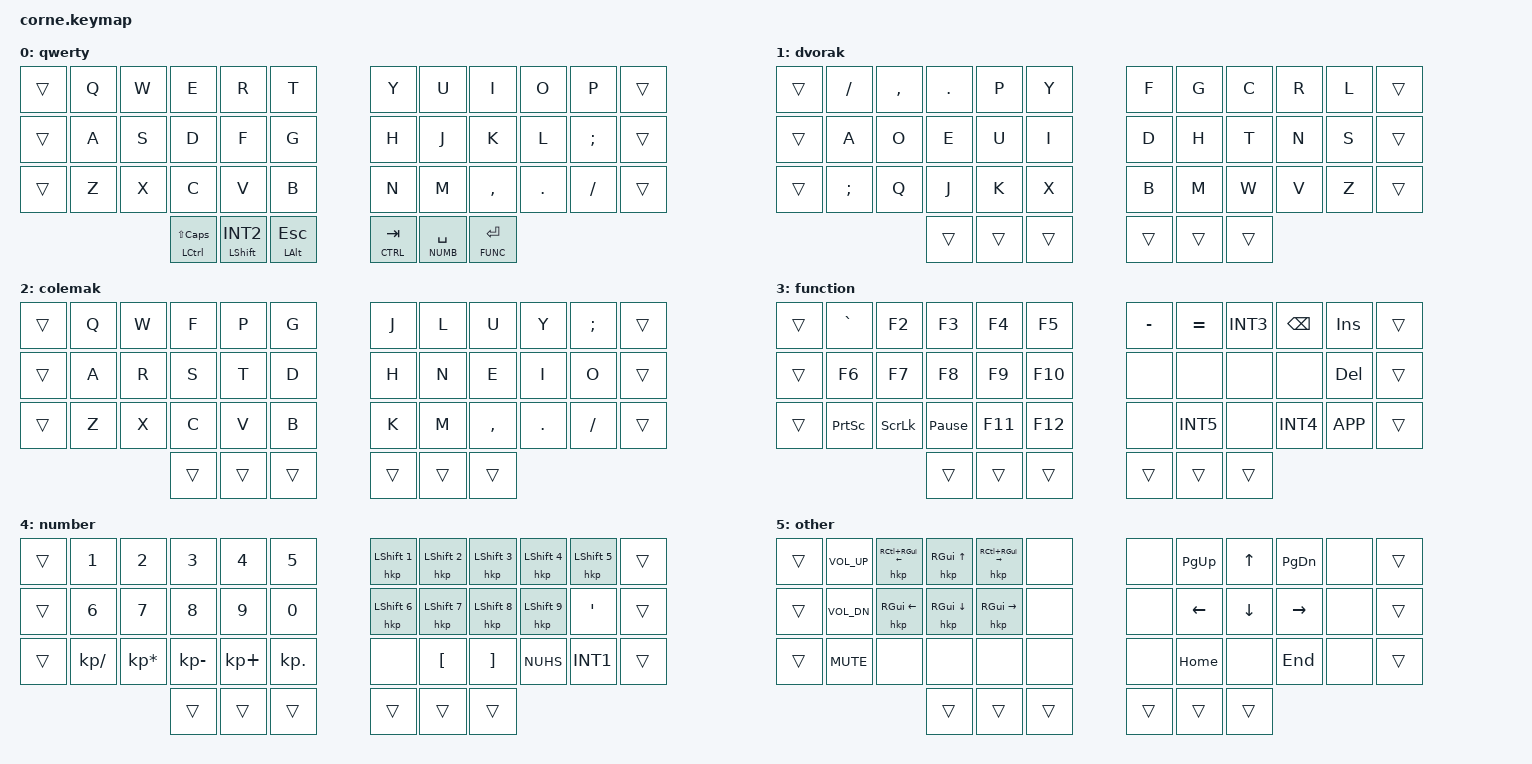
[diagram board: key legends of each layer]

#include <behaviors.dtsi>
#include <dt-bindings/zmk/bt.h>
#include <dt-bindings/zmk/keys.h>
#include <dt-bindings/zmk/outputs.h>
#include <dt-bindings/zmk/pointing.h>

#define QWERTY	0
#define DVORAK	1
#define COLEMAK	2
// #define EUCALYN	3
#define FUNC	3
#define NUMB	4
#define CTRL	5

#define COMBO(NAME, TM, POS, BIND) NAME {\
	slow-release; timeout-ms = <TM>;\
	key-positions = POS; bindings = BIND;\
}

#define MACRO(NAME, ...) NAME: NAME {\
	compatible = "zmk,behavior-macro";\
	#binding-cells = <0>; bindings = __VA_ARGS__;\
}

#define MACRO_ONE_PARAM(NAME, ...) NAME: NAME {\
	compatible = "zmk,behavior-macro-one-param";\
	#binding-cells = <1>; bindings = __VA_ARGS__;\
}

#define MACRO_TWO_PARAM(NAME, ...) NAME: NAME {\
	compatible = "zmk,behavior-macro-two-param";\
	#binding-cells = <2>; bindings = __VA_ARGS__;\
}

#define TAP_DANCE(NAME, TERM, ...) NAME: NAME {\
	compatible = "zmk,behavior-tap-dance";\
	#binding-cells = <0>; tapping-term-ms = <TERM>; bindings = __VA_ARGS__;\
}

&lt { flavor = "hold-preferred"; };
&mt { flavor = "hold-preferred"; quick-tap-ms = <300>; };

/ {
	behaviors {
		
		MACRO(mkp_2mb1, <&macro_tap &mkp MB1 &mkp MB1>);
		MACRO(mkp_3mb1, <&macro_tap &mkp MB1 &mkp MB1 &mkp MB1>);
		
		MACRO(half, <&macro_tap &kp INT2 &kp GRAVE>);
		MACRO(home, <&macro_tap &kp A &kp S &kp D &kp F &kp SEMI &kp L &kp K &kp J>);

		MACRO_ONE_PARAM(bt_clr
			, <&macro_param_1to2>
			, <&macro_tap &bt BT_SEL MACRO_PLACEHOLDER>
			, <&macro_tap &bt BT_CLR>
		);

		MACRO_TWO_PARAM(hkp
			, <&macro_param_1to1>, <&macro_press &kp MACRO_PLACEHOLDER>
			, <&macro_param_2to1>, <&macro_press &kp MACRO_PLACEHOLDER>
			, <&macro_pause_for_release>
			, <&macro_param_2to1>, <&macro_release &kp MACRO_PLACEHOLDER>
			, <&macro_param_1to1>, <&macro_release &kp MACRO_PLACEHOLDER>
		);

		// TAP_DANCE(td_grave, 300, <&half>, <&kp INT2>);
		// TAP_DANCE(td_tab, 300, <&kp TAB>, <&hkp LSHFT TAB>);
		// TAP_DANCE(td_bt0, 300, <&bt BT_SEL 0>, <&bt_clr 0>);
		// TAP_DANCE(td_bt1, 300, <&bt BT_SEL 1>, <&bt_clr 1>);
		// TAP_DANCE(td_bt2, 300, <&bt BT_SEL 2>, <&bt_clr 2>);
		// TAP_DANCE(td_bt3, 300, <&bt BT_SEL 3>, <&bt_clr 3>);
		// TAP_DANCE(td_bt4, 300, <&bt BT_SEL 4>, <&bt_clr 4>);
		// TAP_DANCE(td_base, 1000, <&to QWERTY>, <&to DVORAK>, <&to COLEMAK>);
		// TAP_DANCE(td_base, 1000, <&to QWERTY>, <&to DVORAK>, <&to COLEMAK>, <&to EUCALYN>);
	};
	
	keymap {
		
		compatible = "zmk,keymap";
		qwerty {
			bindings = <
				&trans	&kp Q	&kp W			&kp E			&kp R			&kp T			&kp Y			&kp U	&kp I		&kp O		&kp P		&trans
				&trans	&kp A	&kp S			&kp D			&kp F			&kp G			&kp H			&kp J	&kp K		&kp L		&kp SEMI	&trans
				&trans	&kp Z	&kp X			&kp C			&kp V			&kp B			&kp N			&kp M	&kp COMMA	&kp DOT		&kp SLASH	&trans
										&mt LCTRL LS(CAPSLOCK)	&mt LSHFT INT2	&mt LALT ESC	&lt CTRL TAB	&lt NUMB SPACE	&lt FUNC ENTER
			>;
		};
		dvorak {
			bindings = <
				&trans	&kp SLASH	&kp COMMA	&kp DOT		&kp P	&kp Y	&kp F	&kp G	&kp C	&kp R	&kp L	&trans
				&trans	&kp A		&kp O		&kp E		&kp U	&kp I	&kp D	&kp H	&kp T	&kp N	&kp S	&trans
				&trans	&kp SEMI	&kp Q		&kp J		&kp K	&kp X	&kp B	&kp M	&kp W	&kp V	&kp Z	&trans
												&trans		&trans	&trans	&trans	&trans	&trans
			>;
		};
		colemak {
			bindings = <
				&trans	&kp Q	&kp W	&kp F	&kp P	&kp G	&kp J	&kp L	&kp U		&kp Y	&kp SEMI	&trans
				&trans	&kp A	&kp R	&kp S	&kp T	&kp D	&kp H	&kp N	&kp E		&kp I	&kp O		&trans
				&trans	&kp Z	&kp X	&kp C	&kp V	&kp B	&kp K	&kp M	&kp COMMA	&kp DOT	&kp SLASH	&trans
										&trans	&trans	&trans	&trans	&trans	&trans
			>;
		};
		// eucalyn {
		// 	bindings = <
		// 		&trans	&kp Q	&kp W	&kp COMMA	&kp DOT		&kp SEMI	&kp M	&kp R	&kp D	&kp Y	&kp P		&trans
		// 		&trans	&kp A	&kp O	&kp E		&kp I		&kp U		&kp G	&kp T	&kp K	&kp S	&kp N		&trans
		// 		&trans	&kp Z	&kp X	&kp C		&kp V		&kp F		&kp B	&kp H	&kp J	&kp L	&kp SLASH	&trans
		// 						&trans	&trans		&trans		&trans		&trans	&trans
		// 	>;
		// };
		function {
			bindings = <
				&trans	&kp GRAVE	&kp F2		&kp F3				&kp F4		&kp F5		&kp MINUS	&kp EQUAL	&kp INT3	&kp BSPC	&kp INS		&trans
				&trans	&kp F6		&kp F7		&kp F8				&kp F9		&kp F10		&none		&none		&none		&none		&kp DEL		&trans
				&trans	&kp PSCRN	&kp SLCK	&kp PAUSE_BREAK		&kp F11		&kp F12		&none		&kp INT5	&none		&kp INT4	&kp K_APP	&trans
									&trans		&trans			&trans		&trans		&trans		&trans
			>;
		};
		number {
			bindings = <
				&trans	&kp N1			&kp N2				&kp N3			&kp N4			&kp N5			&hkp LSHFT N1	&hkp LSHFT N2	&hkp LSHFT N3	&hkp LSHFT N4	&hkp LSHFT N5	&trans
				&trans	&kp N6			&kp N7				&kp N8			&kp N9			&kp N0			&hkp LSHFT N6	&hkp LSHFT N7	&hkp LSHFT N8	&hkp LSHFT N9	&kp SQT			&trans
				&trans	&kp KP_SLASH	&kp KP_ASTERISK		&kp KP_MINUS	&kp KP_PLUS		&kp KP_DOT		&none			&kp LBKT		&kp RBKT		&kp NUHS		&kp INT1		&trans
										&trans				&trans			&trans			&trans			&trans		&trans
			>;
		};
		other {
			bindings = <
				&trans	&kp C_VOL_UP	&hkp RC(RGUI) LEFT	&hkp RGUI UP	&hkp RC(RGUI) RIGHT		&none			&none	&kp PG_UP	&kp UP		&kp PG_DN	&none	&trans
				&trans	&kp C_VOL_DN	&hkp RGUI LEFT		&hkp RGUI DOWN	&hkp RGUI RIGHT			&none			&none	&kp LEFT	&kp DOWN	&kp RIGHT	&none	&trans
				&trans	&kp C_MUTE		&none				&none			&none					&none			&none	&kp HOME	&none		&kp END		&none	&trans
										&trans				&trans			&trans					&trans			&trans	&trans
			>;
		};
	};
	
	combos {
		
		compatible = "zmk,combos";
		
		COMBO(bootloader, 35, <0 12 24>, <&bootloader>);
		// COMBO(out_tog, 35, <0 1>, <&out OUT_TOG>);
		COMBO(bt_sel_0, 35, <6 18>,   <&bt BT_SEL 0>);
		COMBO(bt_sel_1, 35, <7 19>,   <&bt BT_SEL 1>);
		COMBO(bt_sel_2, 35, <8 20>,   <&bt BT_SEL 2>);
		COMBO(bt_sel_3, 35, <9 21>,   <&bt BT_SEL 3>);
		COMBO(bt_sel_4, 35, <10 22>,   <&bt BT_SEL 4>);
		COMBO(bt_clr,   35, <10 22 34>, <&bt BT_CLR>);
		COMBO(out_tog,  35, <6 18 30>, <&out OUT_TOG>);
		
		COMBO(single_mb1, 35, <19 20>, <&mkp MB1>);	
		COMBO(single_mb2, 35, <20 21>, <&mkp MB2>);
		COMBO(single_mb4, 35, <31 32>, <&mkp MB4>);	
		COMBO(single_mb5, 35, <32 33>, <&mkp MB5>);
		COMBO(double_mb1, 35, <19 20 21>, <&mkp_2mb1>);	
		COMBO(triple_mb1, 35, <31 32 33>, <&mkp_3mb1>);
		COMBO(single_mb3, 35, <19 21>, <&mkp MB3>);	
		// COMBO(mute, 35, <12 24>, <&kp C_MUTE>);

		COMBO(hrm_lctl, 35, <13 14>, <&kp LCTRL>);
		COMBO(hrm_lsht, 35, <14 15>, <&kp LSHFT>);
		COMBO(hrm_lalt, 35, <15 16>, <&kp LALT>);
		COMBO(hrm_lgui, 35, <15 17>, <&kp LGUI>);
		COMBO(hrm_lgui2, 35, <3 4>, <&kp LGUI>);
		COMBO(hrm_lctl_lsht, 35, <13 14 15>, <&kp LC(LSHFT)>);
		COMBO(hrm_lsht_lalt, 35, <14 15 16>, <&kp LS(LALT)>);
		COMBO(hrm_lalt_lgui, 35, <16 17>, <&kp LA(LGUI)>);
		COMBO(hrm_lsht_lgui, 35, <14 17>, <&kp LS(LGUI)>);
		COMBO(hrm_lctl_lgui, 35, <13 17>, <&kp LC(LGUI)>);
		COMBO(hrm_lctl_lalt, 35, <13 16>, <&kp LC(LALT)>);
		COMBO(hrm_lmeh, 35, <13 14 15 16>, <&kp LC(LS(LALT))>);
	};
};
